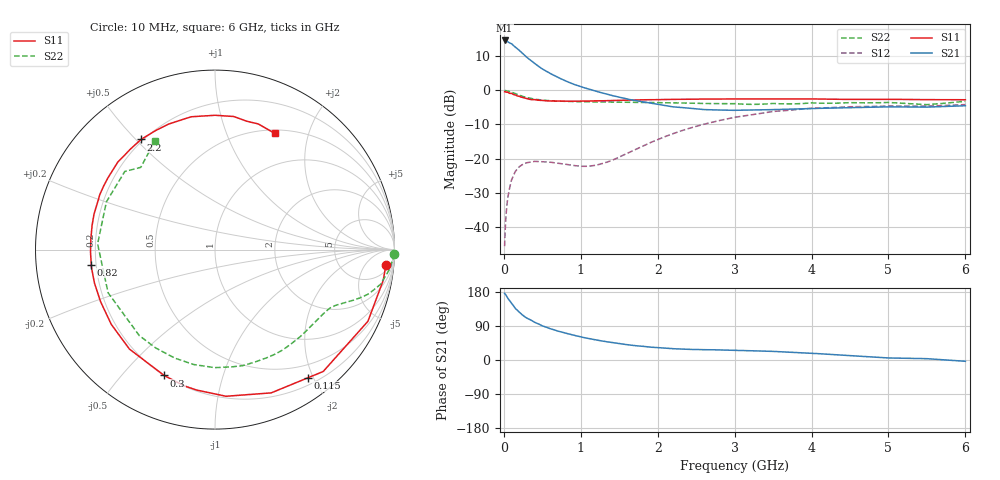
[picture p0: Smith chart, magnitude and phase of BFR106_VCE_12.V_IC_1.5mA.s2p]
! Infineon Technologies  Discrete & RF Semiconductors
! BFR106
! VCE =  12. V,  IC =  1.5 mA
! Common Emitter S-Parameters:  Nov 2015
# GHz  S  MA  R  50
!  f  S11  S21  S12  S22
! GHz  MAG  ANG  MAG  ANG  MAG  ANG  MAG  ANG
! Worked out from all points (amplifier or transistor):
!   210 points, 10 MHz to 6 GHz, reference 50 ohm
!   highest |S21| = 14.6 dB at 10 MHz (marker M1)
!   |S21| within 3 dB of that: start of sweep to 205.6 MHz
!   unconditionally stable (mu >= 1): 819.3 MHz to 1.795 GHz; 3.697 GHz to end of sweep
!   at 185 MHz: K = 0.22, MSG = 17.4 dB, |S12| = -22.8 dB
!   at 1.52 GHz: K = 1.19, MAG = 6.0 dB, |S12| = -19.3 dB
!   at 6 GHz: K = 1.02, MAG = -1.0 dB, |S12| = -4.2 dB
!   S11 on the Smith chart (normalised r, x): 10 MHz: 9, -18; 115 MHz: 0.30, -1.92; 300 MHz: 0.20, -0.66; 820 MHz: 0.18, -0.06; 2.2 GHz: 0.19, +0.52; 6 GHz: 0.54, +1.50
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0.01  0.9559 -5.1  5.388 176.0  0.0052 86.2  0.9999 -1.4
0.025  0.9466 -12.7  5.297 172.0  0.0129 82.1  0.9916 -3.2
0.045  0.9386 -22.6  5.181 165.1  0.0233 76.9  0.9818 -5.7
0.1  0.9081 -48.4  4.826 149.6  0.0485 64.6  0.9426 -11.8
0.115  0.8816 -54.2  4.644 145.8  0.0532 60.6  0.9276 -13.0
0.15  0.8575 -68.6  4.308 136.0  0.065 53.6  0.8942 -15.9
0.2  0.8195 -85.7  3.866 126.3  0.0759 45.9  0.8502 -18.5
0.24  0.7892 -97.4  3.516 119.1  0.0814 40.7  0.8186 -20.2
0.3  0.7563 -112.0  3.043 110.4  0.087 35.3  0.7829 -22.1
0.4  0.7311 -130.7  2.476 99.5  0.091 29.1  0.7433 -24.6
0.5  0.7124 -144.2  2.06 90.1  0.0903 25.7  0.7188 -26.9
0.64  0.697 -159.1  1.683 80.4  0.0874 24.8  0.7016 -30.7
0.82  0.6943 -173.1  1.347 70.0  0.082 28.1  0.6882 -35.9
1.02  0.6944 173.9  1.114 60.0  0.077 38.2  0.6808 -42.3
1.4  0.711 154.6  0.842 46.3  0.0935 65.0  0.6744 -56.1
2.02  0.7318 130.2  0.618 32.4  0.1939 77.1  0.6598 -82.1
2.2  0.7394 123.9  0.573 29.8  0.2319 75.7  0.6577 -90.2
3.1  0.7492 98.1  0.512 25.1  0.4181 55.8  0.6282 -136.6
3.5  0.7484 89.9  0.522 22.7  0.4901 45.8  0.6424 -158.0
4.1  0.7459 80.8  0.545 16.6  0.5508 30.8  0.649 173.0
5.1  0.738 70.0  0.572 5.0  0.5882 11.8  0.6546 137.8
6  0.7283 62.9  0.595 -3.4  0.6184 -0.2  0.6919 119.1
